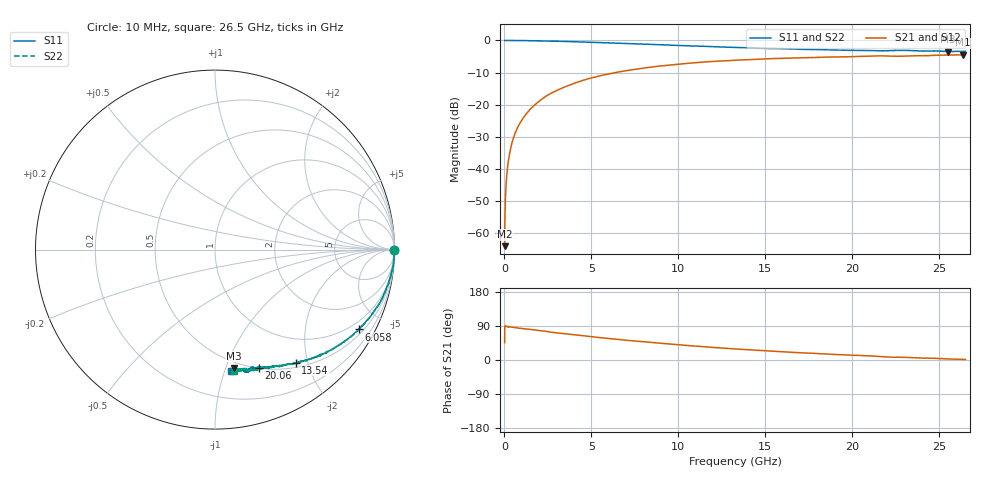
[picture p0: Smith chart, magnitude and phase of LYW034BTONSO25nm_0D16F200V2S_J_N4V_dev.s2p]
!Keysight Technologies,N5222B,MY61253708,A.15.00.15
!Date: Wednesday, June 19, 2024 08:38:45
!Correction: S11(C  2-Port  )
!S21(C  2-Port  )
!S12(C  2-Port  )
!S22(C  2-Port  )
!S2P File: Measurements: S11, S21, S12, S22:
# Hz S  RI  R 50
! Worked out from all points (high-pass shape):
!   2651 points, 10 MHz to 26.5 GHz, reference 50 ohm
!   highest |S21| = -4.41 dB at 26.38 GHz (marker M1); lowest = -64.0 dB at 10 MHz (marker M2)
!   |S21| within 3 dB of the highest: 9.881 GHz to end of sweep
!   lowest |S11| = -3.5 dB at 25.49 GHz (marker M3), VSWR 5.04, Z = 22.4 - j53.5 ohm
!   |S11| at or under -10 dB: nowhere
!   |S22| runs from -3.4 to 0.0 dB; largest |S21 - S12| = 0.011
!   S11 on the Smith chart (normalised r, x): 10 MHz: open; 6.058 GHz: 0.68, -3.74; 13.54 GHz: 0.57, -1.80; 20.06 GHz: 0.50, -1.31; 26.5 GHz: 0.42, -1.05
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1e7  0.9988 -0.00225  0.000441 0.000449  3.82e-05 0.000277  0.9986 -0.00128
7.997358e7  0.9998 -0.0077  6.57e-05 0.00471  4.63e-05 0.00472  0.9993 -0.00719
1.499472e8  0.9997 -0.015  0.000216 0.00887  0.000214 0.00879  0.9993 -0.0141
1.799358e8  0.9996 -0.0169  0.000311 0.0107  0.000279 0.0106  0.9993 -0.0161
2.29917e8  0.999 -0.0222  0.000484 0.0135  0.000462 0.0134  0.9987 -0.0211
3.19883e8  0.9985 -0.0302  0.000871 0.0188  0.000849 0.0186  0.9985 -0.0289
4.49834e8  0.9978 -0.0425  0.00166 0.0264  0.0016 0.0261  0.9977 -0.0412
7.897057e8  0.9947 -0.0734  0.00461 0.0457  0.00445 0.0453  0.9944 -0.0721
1.399475e9  0.9813 -0.1302  0.0122 0.0791  0.0121 0.0784  0.9845 -0.1249
2.239158e9  0.9612 -0.1975  0.0297 0.1233  0.0293 0.1224  0.9638 -0.1966
3.118826e9  0.9339 -0.2658  0.0562 0.1626  0.0553 0.1616  0.9354 -0.2634
4.428332e9  0.8784 -0.3552  0.1009 0.2131  0.0995 0.2124  0.8822 -0.3508
6.057717e9  0.8006 -0.4447  0.1681 0.2536  0.167 0.2529  0.8063 -0.4421
8.846664e9  0.6603 -0.5503  0.2825 0.2798  0.2809 0.2797  0.6654 -0.5481
1.3255e10  0.4626 -0.6271  0.4293 0.2407  0.4286 0.2408  0.4689 -0.6269
1.354489e10  0.4504 -0.6298  0.4363 0.2355  0.4354 0.2363  0.4565 -0.6306
1.767333e10  0.305 -0.6551  0.5158 0.1647  0.5163 0.1639  0.3187 -0.6558
2.006243e10  0.2446 -0.6602  0.5469 0.123  0.5464 0.1217  0.2592 -0.6618
2.209166e10  0.2002 -0.6591  0.5667 0.0765  0.5659 0.0758  0.1965 -0.668
2.549038e10  0.106 -0.6602  0.5925 0.0287  0.5915 0.0314  0.1268 -0.6709
2.638005e10  0.0948 -0.6717  0.6017 0.0157  0.595 0.0188  0.1035 -0.6784
2.65e10  0.0917 -0.674  0.6015 0.0154  0.5987 0.0145  0.1032 -0.6782
